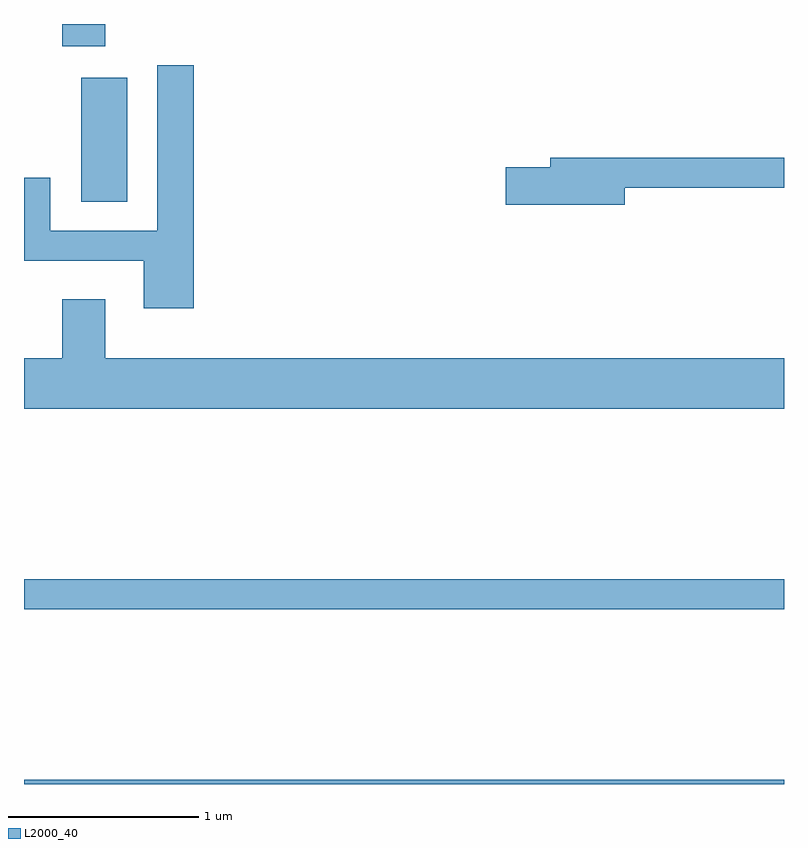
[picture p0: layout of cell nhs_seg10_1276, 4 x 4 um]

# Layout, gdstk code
import gdstk
lib = gdstk.Library(unit=1e-6, precision=1e-09)
def R(c, l, rs):  # rectangles x0, y0, x1, y1
    for r in rs: c.add(gdstk.rectangle(r[:2], r[2:], *l))
def P(c, l, *ps):  # polygons
    for p in ps: c.add(gdstk.Polygon(p, *l))
L2000_40 = (2000, 40)

nhs_seg10_1276 = lib.new_cell('nhs_seg10_1276')
R(nhs_seg10_1276, L2000_40, [(221.611,2198.522,225.611,2198.544), (221.611,2199.441,225.611,2199.599), (221.911,2201.586,222.154,2202.239), (221.811,2202.406,222.039,2202.522)])
P(nhs_seg10_1276, L2000_40, [(222.504,2202.304),(222.311,2202.304),(222.311,2201.434),(221.749,2201.434),(221.749,2201.713),(221.611,2201.713),(221.611,2201.276),(222.241,2201.276),(222.241,2201.026),(222.504,2201.026)],
  [(224.774,2201.661),(225.611,2201.661),(225.611,2201.819),(224.381,2201.819),(224.381,2201.769),(224.146,2201.769),(224.146,2201.571),(224.774,2201.571)],
  [(225.611,2200.764),(222.039,2200.764),(222.039,2201.074),(221.811,2201.074),(221.811,2200.764),(221.611,2200.764),(221.611,2200.496),(225.611,2200.496)])

lib.write_gds('nhs_seg10_1276.gds')
